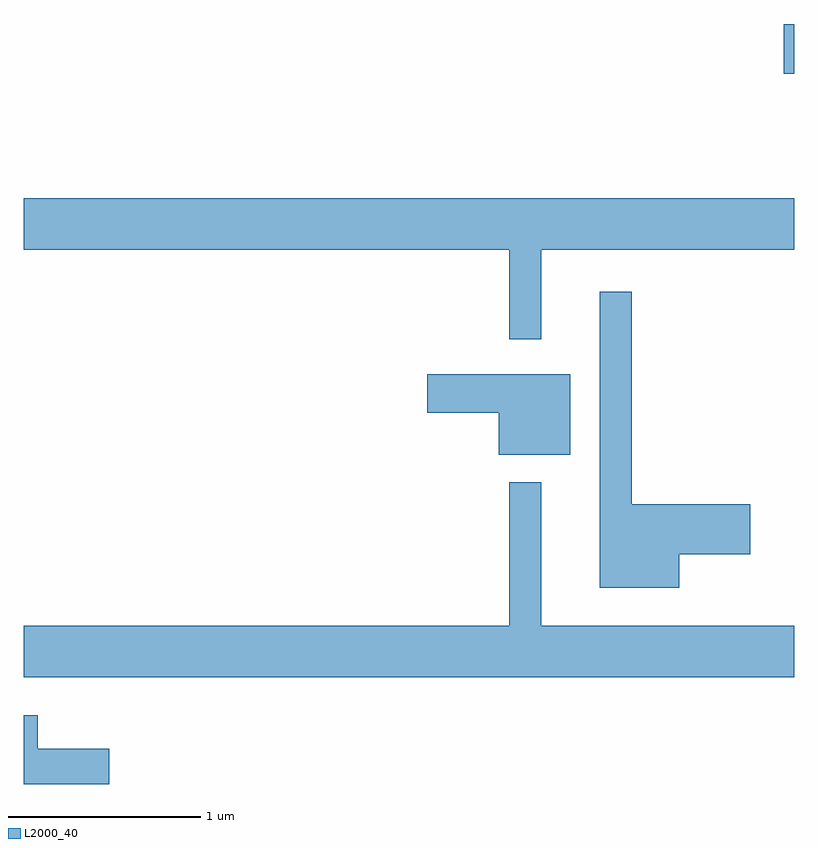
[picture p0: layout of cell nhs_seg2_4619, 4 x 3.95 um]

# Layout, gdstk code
import gdstk
lib = gdstk.Library(unit=1e-6, precision=1e-09)
def R(c, l, rs):  # rectangles x0, y0, x1, y1
    for r in rs: c.add(gdstk.rectangle(r[:2], r[2:], *l))
def P(c, l, *ps):  # polygons
    for p in ps: c.add(gdstk.Polygon(p, *l))
L2000_40 = (2000, 40)

nhs_seg2_4619 = lib.new_cell('nhs_seg2_4619')
R(nhs_seg2_4619, L2000_40, [(325.556,1011.491,325.611,1011.749)])
P(nhs_seg2_4619, L2000_40, [(324.299,1010.576),(325.611,1010.576),(325.611,1010.844),(321.611,1010.844),(321.611,1010.576),(324.131,1010.576),(324.131,1010.113),(324.299,1010.113)],
  [(325.014,1008.996),(325.384,1008.996),(325.384,1009.254),(324.769,1009.254),(324.769,1010.358),(324.601,1010.358),(324.601,1008.821),(325.014,1008.821)],
  [(324.449,1009.929),(323.706,1009.929),(323.706,1009.731),(324.076,1009.731),(324.076,1009.511),(324.449,1009.511)],
  [(325.611,1008.624),(324.299,1008.624),(324.299,1009.368),(324.131,1009.368),(324.131,1008.624),(321.611,1008.624),(321.611,1008.356),(325.611,1008.356)],
  [(322.054,1007.984),(321.684,1007.984),(321.684,1008.159),(321.611,1008.159),(321.611,1007.802),(322.054,1007.802)])

lib.write_gds('nhs_seg2_4619.gds')
